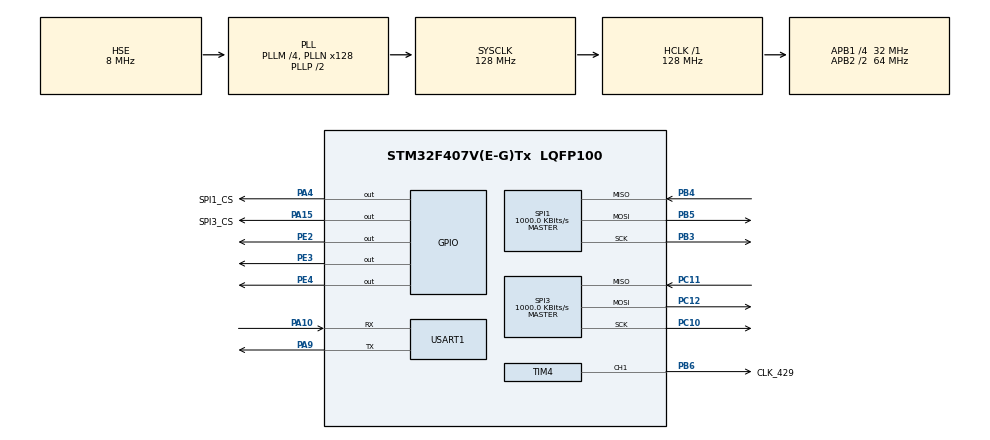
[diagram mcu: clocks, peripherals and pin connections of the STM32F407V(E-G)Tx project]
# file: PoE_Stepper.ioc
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Mcu.Family=STM32F4
Mcu.Name=STM32F407V(E-G)Tx
Mcu.Package=LQFP100
NVIC.PriorityGroup=NVIC_PRIORITYGROUP_4
PA10.Mode=Asynchronous
PA10.Signal=USART1_RX
PA15.GPIO_Label=SPI3_CS
PA15.Signal=GPIO_Output
PA4.GPIO_Label=SPI1_CS
PA4.Signal=GPIO_Output
PA9.Mode=Asynchronous
PA9.Signal=USART1_TX
PB3.Mode=Full_Duplex_Master
PB3.Signal=SPI1_SCK
PB4.Mode=Full_Duplex_Master
PB4.Signal=SPI1_MISO
PB5.Mode=Full_Duplex_Master
PB5.Signal=SPI1_MOSI
PB6.GPIO_Label=CLK_429
PB6.Signal=S_TIM4_CH1
PC10.Mode=Full_Duplex_Master
PC10.Signal=SPI3_SCK
PC11.Mode=Full_Duplex_Master
PC11.Signal=SPI3_MISO
PC12.Mode=Full_Duplex_Master
PC12.Signal=SPI3_MOSI
PE2.Signal=GPIO_Output
PE3.Signal=GPIO_Output
PE4.Signal=GPIO_Output
PH0-OSC_IN.Mode=HSE-External-Oscillator
PH0-OSC_IN.Signal=RCC_OSC_IN
PH1-OSC_OUT.Mode=HSE-External-Oscillator
PH1-OSC_OUT.Signal=RCC_OSC_OUT
ProjectManager.HeapSize=0x200
ProjectManager.StackSize=0x400
ProjectManager.TargetToolchain=STM32CubeIDE
RCC.48MHZClocksFreq_Value=64000000
RCC.AHBFreq_Value=128000000
RCC.APB1CLKDivider=RCC_HCLK_DIV4
RCC.APB1Freq_Value=32000000
RCC.APB1TimFreq_Value=64000000
RCC.APB2CLKDivider=RCC_HCLK_DIV2
RCC.APB2Freq_Value=64000000
RCC.APB2TimFreq_Value=128000000
RCC.CortexFreq_Value=128000000
RCC.HCLKFreq_Value=128000000
RCC.HSE_VALUE=8000000
RCC.HSI_VALUE=16000000
RCC.LSE_VALUE=32768
RCC.PLLM=4
RCC.PLLN=128
RCC.PLLSourceVirtual=RCC_PLLSOURCE_HSE
RCC.SYSCLKFreq_VALUE=128000000
RCC.SYSCLKSource=RCC_SYSCLKSOURCE_PLLCLK
RCC.VCOOutputFreq_Value=256000000
SH.S_TIM4_CH1.0=TIM4_CH1,PWM Generation1 CH1
SPI1.BaudRatePrescaler=SPI_BAUDRATEPRESCALER_64
SPI1.CLKPhase=SPI_PHASE_2EDGE
SPI1.CLKPolarity=SPI_POLARITY_HIGH
SPI1.CalculateBaudRate=1000.0 KBits/s
SPI1.Direction=SPI_DIRECTION_2LINES
SPI1.Mode=SPI_MODE_MASTER
SPI1.VirtualType=VM_MASTER
SPI3.BaudRatePrescaler=SPI_BAUDRATEPRESCALER_32
SPI3.CLKPhase=SPI_PHASE_2EDGE
SPI3.CLKPolarity=SPI_POLARITY_HIGH
SPI3.CalculateBaudRate=1000.0 KBits/s
SPI3.DataSize=SPI_DATASIZE_8BIT
SPI3.Direction=SPI_DIRECTION_2LINES
SPI3.Mode=SPI_MODE_MASTER
SPI3.VirtualType=VM_MASTER
TIM1.Period=8-1
TIM4.Channel-PWM\ Generation1\ CH1=TIM_CHANNEL_1
TIM4.OCMode_PWM-PWM\ Generation1\ CH1=TIM_OCMODE_PWM1
TIM4.Period=2-1
TIM4.Prescaler=1
USART1.VirtualMode=VM_ASYNC
VP_TIM1_VS_ClockSourceINT.Mode=Internal
VP_TIM4_VS_ClockSourceINT.Mode=Internal
board=custom

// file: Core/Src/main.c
/* USER CODE BEGIN Header */
/**
  ******************************************************************************
  * @file           : main.c
  * @brief          : Main program body
  ******************************************************************************
  * @attention
  *
  * Copyright (c) 2022 STMicroelectronics.
  * All rights reserved.
  *
  * This software is licensed under terms that can be found in the LICENSE file
  * in the root directory of this software component.
  * If no LICENSE file comes with this software, it is provided AS-IS.
  *
  ******************************************************************************
  */
/* USER CODE END Header */
#include "main.h"
#include <stdio.h>

SPI_HandleTypeDef hspi1;
SPI_HandleTypeDef hspi3;

TIM_HandleTypeDef htim1;
TIM_HandleTypeDef htim4;

UART_HandleTypeDef huart1;

void SystemClock_Config(void);
static void MX_GPIO_Init(void);
static void MX_SPI1_Init(void);
static void MX_SPI3_Init(void);
static void MX_TIM1_Init(void);
static void MX_TIM4_Init(void);
static void MX_USART1_UART_Init(void);
/* USER CODE BEGIN PFP */
uint8_t SPI_2660_Init(void);
uint8_t SPI_429_Init(uint8_t *spi_buf);
void const_vel_test_429 (uint8_t * spi_buf);
void const_vel_test_429_pos (uint8_t * spi_buf);
void set_motor_pos(uint32_t position, uint8_t * spi_buf);
void read_position(uint8_t * spi_buffer, uint8_t reg);
void read_ifx(uint8_t * spi_buf);
void write_ifx(uint8_t * spi_buf);
/* USER CODE END PFP */

int main(void)
{

  /* MCU Configuration--------------------------------------------------------*/

  /* Reset of all peripherals, Initializes the Flash interface and the Systick. */
  HAL_Init();

  /* Configure the system clock */
  SystemClock_Config();

  /* Initialize all configured peripherals */
  MX_GPIO_Init();
  MX_SPI1_Init();
  MX_SPI3_Init();
  MX_TIM1_Init();
  MX_TIM4_Init();
  MX_USART1_UART_Init();
  /* USER CODE BEGIN 2 */

  //  TIM1->CCR4 = 4; //set duty cycle of tim1 ch4
     //set duty cycle of tim4 ch1

    //HAL_TIM_PWM_Start(&htim1, TIM_CHANNEL_4); //start tim1 ch4 pwm

  //  HAL_TIM_Base_Start(&htim4);
  TIM4->CCR1 = 1;
  HAL_TIM_PWM_Start(&htim4, TIM_CHANNEL_1); //start tim4 ch1 pwm

  uint8_t spi_buf[4];
  SPI_429_Init(spi_buf);
  SPI_2660_Init();
  /* USER CODE END 2 */

  /* Infinite loop */
  /* USER CODE BEGIN WHILE */
  // read_ifx(spi_buf);
  while (1)
  {
    /* USER CODE END WHILE */

    /* USER CODE BEGIN 3 */
	HAL_GPIO_TogglePin(GPIOE, GPIO_PIN_4);
	HAL_Delay(5);
	set_motor_pos(1, spi_buf);
  read_ifx(spi_buf);
	//const_vel_test_429(spi_buf);
  //HAL_Delay(1000);
  //const_vel_test_429_pos(spi_buf);

//	HAL_GPIO_WritePin(GPIOA, GPIO_PIN_15, GPIO_PIN_RESET);
//	HAL_SPI_Transmit(&hspi3,(uint8_t *)spi_buf, 3, 100);
//	HAL_GPIO_WritePin(GPIOA, GPIO_PIN_15, GPIO_PIN_SET);

  }
  /* USER CODE END 3 */
}

void SystemClock_Config(void)
{
  RCC_OscInitTypeDef RCC_OscInitStruct = {0};
  RCC_ClkInitTypeDef RCC_ClkInitStruct = {0};

  /** Configure the main internal regulator output voltage
  */
  __HAL_RCC_PWR_CLK_ENABLE();
  __HAL_PWR_VOLTAGESCALING_CONFIG(PWR_REGULATOR_VOLTAGE_SCALE1);
  /** Initializes the RCC Oscillators according to the specified parameters
  * in the RCC_OscInitTypeDef structure.
  */
  RCC_OscInitStruct.OscillatorType = RCC_OSCILLATORTYPE_HSE;
  RCC_OscInitStruct.HSEState = RCC_HSE_ON;
  RCC_OscInitStruct.PLL.PLLState = RCC_PLL_ON;
  RCC_OscInitStruct.PLL.PLLSource = RCC_PLLSOURCE_HSE;
  RCC_OscInitStruct.PLL.PLLM = 4;
  RCC_OscInitStruct.PLL.PLLN = 128;
  RCC_OscInitStruct.PLL.PLLP = RCC_PLLP_DIV2;
  RCC_OscInitStruct.PLL.PLLQ = 4;
  if (HAL_RCC_OscConfig(&RCC_OscInitStruct) != HAL_OK)
  {
    Error_Handler();
  }
  /** Initializes the CPU, AHB and APB buses clocks
  */
  RCC_ClkInitStruct.ClockType = RCC_CLOCKTYPE_HCLK|RCC_CLOCKTYPE_SYSCLK
                              |RCC_CLOCKTYPE_PCLK1|RCC_CLOCKTYPE_PCLK2;
  RCC_ClkInitStruct.SYSCLKSource = RCC_SYSCLKSOURCE_PLLCLK;
  RCC_ClkInitStruct.AHBCLKDivider = RCC_SYSCLK_DIV1;
  RCC_ClkInitStruct.APB1CLKDivider = RCC_HCLK_DIV4;
  RCC_ClkInitStruct.APB2CLKDivider = RCC_HCLK_DIV2;

  if (HAL_RCC_ClockConfig(&RCC_ClkInitStruct, FLASH_LATENCY_4) != HAL_OK)
  {
    Error_Handler();
  }
}

static void MX_SPI1_Init(void)
{

  /* SPI1 parameter configuration*/
  hspi1.Instance = SPI1;
  hspi1.Init.Mode = SPI_MODE_MASTER;
  hspi1.Init.Direction = SPI_DIRECTION_2LINES;
  hspi1.Init.DataSize = SPI_DATASIZE_8BIT;
  hspi1.Init.CLKPolarity = SPI_POLARITY_HIGH;
  hspi1.Init.CLKPhase = SPI_PHASE_2EDGE;
  hspi1.Init.NSS = SPI_NSS_SOFT;
  hspi1.Init.BaudRatePrescaler = SPI_BAUDRATEPRESCALER_64;
  hspi1.Init.FirstBit = SPI_FIRSTBIT_MSB;
  hspi1.Init.TIMode = SPI_TIMODE_DISABLE;
  hspi1.Init.CRCCalculation = SPI_CRCCALCULATION_DISABLE;
  hspi1.Init.CRCPolynomial = 10;
  if (HAL_SPI_Init(&hspi1) != HAL_OK)
  {
    Error_Handler();
  }

}

static void MX_SPI3_Init(void)
{

  /* SPI3 parameter configuration*/
  hspi3.Instance = SPI3;
  hspi3.Init.Mode = SPI_MODE_MASTER;
  hspi3.Init.Direction = SPI_DIRECTION_2LINES;
  hspi3.Init.DataSize = SPI_DATASIZE_8BIT;
  hspi3.Init.CLKPolarity = SPI_POLARITY_HIGH;
  hspi3.Init.CLKPhase = SPI_PHASE_2EDGE;
  hspi3.Init.NSS = SPI_NSS_SOFT;
  hspi3.Init.BaudRatePrescaler = SPI_BAUDRATEPRESCALER_32;
  hspi3.Init.FirstBit = SPI_FIRSTBIT_MSB;
  hspi3.Init.TIMode = SPI_TIMODE_DISABLE;
  hspi3.Init.CRCCalculation = SPI_CRCCALCULATION_DISABLE;
  hspi3.Init.CRCPolynomial = 10;
  if (HAL_SPI_Init(&hspi3) != HAL_OK)
  {
    Error_Handler();
  }

}

static void MX_TIM1_Init(void)
{

  TIM_ClockConfigTypeDef sClockSourceConfig = {0};
  TIM_MasterConfigTypeDef sMasterConfig = {0};

  htim1.Instance = TIM1;
  htim1.Init.Prescaler = 0;
  htim1.Init.CounterMode = TIM_COUNTERMODE_UP;
  htim1.Init.Period = 8-1;
  htim1.Init.ClockDivision = TIM_CLOCKDIVISION_DIV1;
  htim1.Init.RepetitionCounter = 0;
  htim1.Init.AutoReloadPreload = TIM_AUTORELOAD_PRELOAD_DISABLE;
  if (HAL_TIM_Base_Init(&htim1) != HAL_OK)
  {
    Error_Handler();
  }
  sClockSourceConfig.ClockSource = TIM_CLOCKSOURCE_INTERNAL;
  if (HAL_TIM_ConfigClockSource(&htim1, &sClockSourceConfig) != HAL_OK)
  {
    Error_Handler();
  }
  sMasterConfig.MasterOutputTrigger = TIM_TRGO_RESET;
  sMasterConfig.MasterSlaveMode = TIM_MASTERSLAVEMODE_DISABLE;
  if (HAL_TIMEx_MasterConfigSynchronization(&htim1, &sMasterConfig) != HAL_OK)
  {
    Error_Handler();
  }

}

static void MX_TIM4_Init(void)
{

  TIM_ClockConfigTypeDef sClockSourceConfig = {0};
  TIM_MasterConfigTypeDef sMasterConfig = {0};
  TIM_OC_InitTypeDef sConfigOC = {0};

  htim4.Instance = TIM4;
  htim4.Init.Prescaler = 1;
  htim4.Init.CounterMode = TIM_COUNTERMODE_UP;
  htim4.Init.Period = 2-1;
  htim4.Init.ClockDivision = TIM_CLOCKDIVISION_DIV1;
  htim4.Init.AutoReloadPreload = TIM_AUTORELOAD_PRELOAD_DISABLE;
  if (HAL_TIM_Base_Init(&htim4) != HAL_OK)
  {
    Error_Handler();
  }
  sClockSourceConfig.ClockSource = TIM_CLOCKSOURCE_INTERNAL;
  if (HAL_TIM_ConfigClockSource(&htim4, &sClockSourceConfig) != HAL_OK)
  {
    Error_Handler();
  }
  if (HAL_TIM_PWM_Init(&htim4) != HAL_OK)
  {
    Error_Handler();
  }
  sMasterConfig.MasterOutputTrigger = TIM_TRGO_RESET;
  sMasterConfig.MasterSlaveMode = TIM_MASTERSLAVEMODE_DISABLE;
  if (HAL_TIMEx_MasterConfigSynchronization(&htim4, &sMasterConfig) != HAL_OK)
  {
    Error_Handler();
  }
  sConfigOC.OCMode = TIM_OCMODE_PWM1;
  sConfigOC.Pulse = 0;
  sConfigOC.OCPolarity = TIM_OCPOLARITY_HIGH;
  sConfigOC.OCFastMode = TIM_OCFAST_DISABLE;
  if (HAL_TIM_PWM_ConfigChannel(&htim4, &sConfigOC, TIM_CHANNEL_1) != HAL_OK)
  {
    Error_Handler();
  }
  HAL_TIM_MspPostInit(&htim4);

}

static void MX_USART1_UART_Init(void)
{

  huart1.Instance = USART1;
  huart1.Init.BaudRate = 115200;
  huart1.Init.WordLength = UART_WORDLENGTH_8B;
  huart1.Init.StopBits = UART_STOPBITS_1;
  huart1.Init.Parity = UART_PARITY_NONE;
  huart1.Init.Mode = UART_MODE_TX_RX;
  huart1.Init.HwFlowCtl = UART_HWCONTROL_NONE;
  huart1.Init.OverSampling = UART_OVERSAMPLING_16;
  if (HAL_UART_Init(&huart1) != HAL_OK)
  {
    Error_Handler();
  }

}

static void MX_GPIO_Init(void)
{
  GPIO_InitTypeDef GPIO_InitStruct = {0};

  /* GPIO Ports Clock Enable */
  __HAL_RCC_GPIOE_CLK_ENABLE();
  __HAL_RCC_GPIOH_CLK_ENABLE();
  __HAL_RCC_GPIOA_CLK_ENABLE();
  __HAL_RCC_GPIOC_CLK_ENABLE();
  __HAL_RCC_GPIOB_CLK_ENABLE();

  /*Configure GPIO pin Output Level */
  HAL_GPIO_WritePin(GPIOE, GPIO_PIN_2|GPIO_PIN_3|GPIO_PIN_4, GPIO_PIN_RESET);

  /*Configure GPIO pin Output Level */
  HAL_GPIO_WritePin(GPIOA, SPI1_CS_Pin|SPI3_CS_Pin, GPIO_PIN_RESET);

  /*Configure GPIO pins : PE2 PE3 PE4 */
  GPIO_InitStruct.Pin = GPIO_PIN_2|GPIO_PIN_3|GPIO_PIN_4;
  GPIO_InitStruct.Mode = GPIO_MODE_OUTPUT_PP;
  GPIO_InitStruct.Pull = GPIO_NOPULL;
  GPIO_InitStruct.Speed = GPIO_SPEED_FREQ_LOW;
  HAL_GPIO_Init(GPIOE, &GPIO_InitStruct);

  /*Configure GPIO pins : SPI1_CS_Pin SPI3_CS_Pin */
  GPIO_InitStruct.Pin = SPI1_CS_Pin|SPI3_CS_Pin;
  GPIO_InitStruct.Mode = GPIO_MODE_OUTPUT_PP;
  GPIO_InitStruct.Pull = GPIO_NOPULL;
  GPIO_InitStruct.Speed = GPIO_SPEED_FREQ_LOW;
  HAL_GPIO_Init(GPIOA, &GPIO_InitStruct);

}

/* USER CODE BEGIN 4 */

HAL_StatusTypeDef SPI_2660_Transmit(uint8_t * dataBuffer){
    HAL_StatusTypeDef err;
    uint8_t spi_buf[3];

    HAL_GPIO_WritePin(GPIOA, GPIO_PIN_15, GPIO_PIN_RESET);
    err = HAL_SPI_TransmitReceive(&hspi3, (uint8_t *)dataBuffer, (uint8_t *)spi_buf,  3, 100);
    while(HAL_SPI_GetState(&hspi3) != HAL_SPI_STATE_READY);
//    HAL_SPI_Receive(&hspi3, (uint8_t *)spi_buf, 5, 100);
//    while(HAL_SPI_GetState(&hspi3) != HAL_SPI_STATE_READY);
    HAL_GPIO_WritePin(GPIOA, GPIO_PIN_15, GPIO_PIN_SET);

    return err;
}

uint8_t SPI_2660_Init(void){
    uint8_t wData[3];
    wData[0] = 0x09;            // SPI = $94557  Constant toff mode
    wData[1] = 0x01;
    wData[2] = 0xB4;
    SPI_2660_Transmit(wData);

    wData[0] = 0x0D;            // SPI = $D001F  Current setting: $d001F (max. current) (D000A = 1/3 current)
    wData[1] = 0x00;
    wData[2] = 0x15;//0x0A;
    SPI_2660_Transmit(wData);

    wData[0] = 0x0E;            // SPI = $E0090  low driver strength, StallGuard2 read, SDOFF=1
    wData[1] = 0x00;            //  1110 0000 0000 1001 0000
    wData[2] = 0x10;
    SPI_2660_Transmit(wData);

    wData[0] = 0x00;            // SPI = $00000  256 microstep setting
    wData[1] = 0x00;
    wData[2] = 0x00; // 64 micro step setting // 0x00; 08-full
    SPI_2660_Transmit(wData);

    return 0;

}

HAL_StatusTypeDef SPI_429_Transmit(uint8_t * dataBuffer, uint8_t *spi_buf){
    HAL_StatusTypeDef err;
    // uint8_t spi_buf[4];

    HAL_GPIO_WritePin(GPIOA, GPIO_PIN_4, GPIO_PIN_RESET);
    err = HAL_SPI_TransmitReceive(&hspi1, (uint8_t *)dataBuffer, (uint8_t *)spi_buf,  4, 100);
    while(HAL_SPI_GetState(&hspi3) != HAL_SPI_STATE_READY);
//  HAL_SPI_Receive(&hspi3, (uint8_t *)spi_buf, 5, 100);
//    while(HAL_SPI_GetState(&hspi3) != HAL_SPI_STATE_READY);
    HAL_GPIO_WritePin(GPIOA, GPIO_PIN_4, GPIO_PIN_SET);

    return err;
}

uint8_t SPI_429_Init(uint8_t *spi_buf){
    uint8_t wData[4];
    wData[0] = 0x04;            // SPI = $04 00 00 07
    wData[1] = 0x00;
    wData[2] = 0x00;
    wData[3] = 0x07;
    SPI_429_Transmit(wData,spi_buf);
    //0000 0100 0000 0000 0[000 0000 0111]
    //IDX: 0010
    //vmin: 7

    wData[0] = 0x06;            // SPI = $06 00 07 FF
    wData[1] = 0x00;
    wData[2] = 0x07;
    wData[3] = 0xFF;
    SPI_429_Transmit(wData,spi_buf);
    //0000 0110 0000 0000 0[111 1111 1111]
    //IDX: 0011
    //vmax:2047

    wData[0] = 0x18;// end now 07 //0x14;            // SPI = $14 00 33 00
    wData[1] = 0x00;
    wData[2] = 0x33;
    wData[3] = 0x00;//0x07; //usrs res 111 64 microstep
    SPI_429_Transmit(wData, spi_buf);
    //0001 1000 0000 0000 [0011] [0011] 0000 [0111]
    //IDX:1100 18
    //PULSE_DIV: 3
    //RAMP_DIV: 3
    //USRS: 7

    //NEW ADD
    wData[0] = 0x14;            // SPI = $14 00 03 00
    wData[1] = 0x00;
    wData[2] = 0x03;            // ref_conf = (refrnl, softstop, disavle stop r. disable stop 1) = 0b011
    wData[3] = 0x00;          //0x02;
    SPI_429_Transmit(wData, spi_buf);
    //0001 0100 0000 0000 0000 [0011] 0000 00[00]
    //IDX: 1010
    //REF_CONF = 3
    //R_M = 2
    //00-ramp mode(set pos), 01 soft mode, 10 velocity mode

    wData[0] = 0x0C;            // SPI = $0C 00 00 0A
    wData[1] = 0x00;
    wData[2] = 0x00;
    wData[3] = 0x0A;
    SPI_429_Transmit(wData, spi_buf);
    //0000 1100 0000 0000 0000 0[000 0000 1010]
    //IDX:0110
    //A_MAX: 10

    wData[0] = 0x12;            // SPI = $12 00 1E 08
    wData[1] = 0x00;
    wData[2] = 0x1E;
    wData[3] = 0x08;
    SPI_429_Transmit(wData, spi_buf);
    //0001 0010 0000 0000 1[110 1000] 0000 [1000]
    //IDX:1001
    //1: 1
    //PMUL:158-128 = 30
    //PDIV:8

    wData[0] = 0x0A;            // SPI = $0A 00 03 00
    wData[1] = 0x00;
    wData[2] = 0x03;
    wData[3] = 0x00;
    SPI_429_Transmit(wData, spi_buf);
    //0000 1010 0000 0000 0000 [0011 0000 0000]
    //IDX:0101
    //VACTUAL: 768

    //WRITE TO FX
    wData[0] = 0x68;
    wData[1] = 0x00;
    wData[2] = 0x00;
    wData[3] = 0x20;
    //ENABLE step/dir mode

    SPI_429_Transmit(wData, spi_buf);

    return 0;
    //64 micros/ full step       200 steps/ rev
}

void const_vel_test_429 (uint8_t * spi_buf){
	  uint8_t wData[4];

    wData[0] = 0x08;            // SPI = 0000 1000 0000 0000 0000 [0000 0001 0000]
    wData[1] = 0x00;
    wData[2] = 0x00;
    wData[3] = 0x10;
    SPI_429_Transmit(wData, spi_buf);

    read_position(spi_buf, 1);
}

void read_position(uint8_t * spi_buf, uint8_t reg){
    int j;
    j=0;
    char MSG[500] = {'\0'};
    //j += sprintf(MSG+j, "Output of target setting:0x0%lx\r\n", (uint32_t)(*spi_buf));
    //IDX:0000
    //24 bits position
    spi_buf[0] = 0x00;//((reg & 0x0F) << 1) + 1;
    spi_buf[1] = 0x00;
    spi_buf[2] = 0x00;  //HAL_UART_Transmit(&huart1, (uint8_t *)MSG, sizeof(MSG), HAL_MAX_DELAY);
    spi_buf[3] = 0x00;

    uint8_t rData[4];
    rData[0] = (uint8_t)(((reg & 0x0F) << 1) + 1);
    rData[1] = 0x00;
    rData[2] = 0x00;
    rData[3] = 0x00;

    SPI_429_Transmit(rData, spi_buf);
    j += sprintf(MSG+j, "REGISTER:%u\n", reg);
    j += sprintf(MSG+j, "VAL_INSIDE:0x0%lx, %lx, %lx \r\n", (uint32_t)(spi_buf[1]), (uint32_t)(spi_buf[2]), (uint32_t)(spi_buf[3]));
    HAL_UART_Transmit(&huart1, (uint8_t *)MSG, sizeof(MSG), HAL_MAX_DELAY);
}

void read_ifx(uint8_t * spi_buf){
    int j;
    j=0;
    char MSG[500] = {'\0'};
    //j += sprintf(MSG+j, "Output of target setting:0x0%lx\r\n", (uint32_t)(*spi_buf));
    //IDX:0000
    //24 bits position
    //0110 1001 ......0 0000 0000
    //6     9
    spi_buf[0] = 0x00;
    spi_buf[1] = 0x00;
    spi_buf[2] = 0x00;  //HAL_UART_Transmit(&huart1, (uint8_t *)MSG, sizeof(MSG), HAL_MAX_DELAY);
    spi_buf[3] = 0x00;

    uint8_t rData[4];
    rData[0] = 0x69;
    rData[1] = 0x00;
    rData[2] = 0x00;
    rData[3] = 0x00;

    SPI_429_Transmit(rData, spi_buf);
    j += sprintf(MSG+j, "VAL_INSIDE IFX:0x0%lx, %lx, %lx \r\n", (uint32_t)(spi_buf[1]), (uint32_t)(spi_buf[2]), (uint32_t)(spi_buf[3]));
    HAL_UART_Transmit(&huart1, (uint8_t *)MSG, sizeof(MSG), HAL_MAX_DELAY);
}

void write_ifx(uint8_t * spi_buf){

    uint8_t wData[4];
    wData[0] = 0x69;
    wData[1] = 0x00;
    wData[2] = 0x00;
    wData[3] = 0x20;

    SPI_429_Transmit(wData, spi_buf);
}

void const_vel_test_429_pos (uint8_t * spi_buf){
	  uint8_t wData[4];

    wData[0] = 0x08;            // SPI = 0000 1000 0000 0000 0000 [0000 0001 0000]
    wData[1] = 0x00;
    wData[2] = 0x00;
    wData[3] = 0x10;
    SPI_429_Transmit(wData, spi_buf);
}

void set_motor_pos(uint32_t position, uint8_t * spi_buf){

	// set motor position: 0 00 0000 0 xxxxxxxx xxxxxxxx xxxxxxxx (24-bit position)
	// set ramp mode: 010 1010 0 (0x54) xxxxxxx(lp) xxxxaaaa(ref_conf) xxxxxxaa(ramp mode)

	 uint8_t wData[4];
	 wData[0] = 0x00;
	 wData[1] = 0x00;
	 wData[2] = 0x67;
	 wData[3] = 0x20;
	 SPI_429_Transmit(wData, spi_buf);

   read_position(spi_buf, 0);

   HAL_Delay(5000);
   read_position(spi_buf, 1);

	 wData[0] = 0x00;
	 wData[1] = 0x00;
	 wData[2] = 0x00;
	 wData[3] = 0x00;
	 SPI_429_Transmit(wData, spi_buf);

   read_position(spi_buf, 0);

   HAL_Delay(5000);
   read_position(spi_buf, 1);

}

/* USER CODE END 4 */

void Error_Handler(void)
{
  __disable_irq();
  while (1)
  {
  }
}
